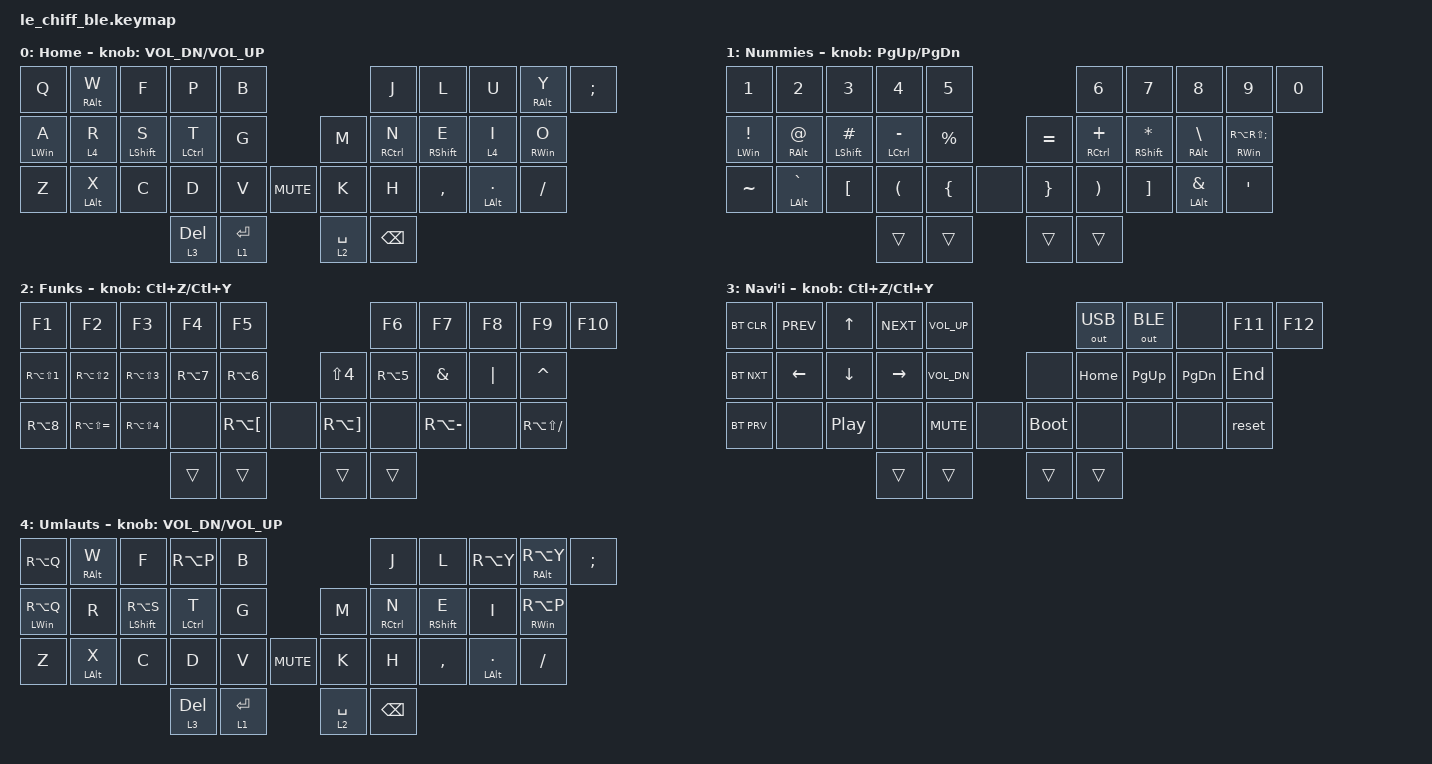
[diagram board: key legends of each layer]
/*
 * Copyright (c) 2021 @MangoIV
 *
 * SPDX-License-Identifier: MIT
 */

#include <behaviors.dtsi>
#include <dt-bindings/zmk/keys.h>
#include <dt-bindings/zmk/bt.h>
#include <dt-bindings/zmk/outputs.h>

// makes it possible to hold backspace

/ {

    behaviors {        
    	hm: homerow_mods {            
   		compatible = "zmk,behavior-hold-tap";            
    		label = "HOMEROW_MODS";            
    		#binding-cells = <2>;            
    		tapping-term-ms = <150>;            
    		quick_tap_ms = <0>;            
    		flavor = "tap-preferred";            
    		bindings = <&kp>, <&kp>;        
    	};    
    };





	keymap {
		compatible = "zmk,keymap";
		
		default {
            label = "Home";
//  _____________________________       _____________________________
// /  Q  |  W  |  F  |  P  |  B  \     /  Y  |  U  |  I  |  O  |  P  \
// |  A  |  S  |  D  |  F  |  G  | ___ |  H  |  J  |  K  |  L  |  ;  |
// |Sft/Z|  X  |  C  |  V  |  B  ||MUT||  N  |  M  |  ,  |  .  |Sft//|
//         \LAlt/Bspc|  Ctl/SPC  /     \  Num/Del  | Sym/Ent /
//          ---------------------       --------------------
			bindings = <
            &kp Q       &hm RALT W   	 &kp F   		&kp P   	  &kp B                       &kp J   	  &kp L   		&kp U        &hm RALT Y   	 &kp SEMI
            &hm LWIN A  &lt 4 R   &hm LSHFT S   	&hm LCTRL T   &kp G                   	  &kp M   	  &hm RCTRL N   &hm RSHFT E &lt 4 I   &hm RWIN O
            &kp Z       &hm LALT X   &kp C   		&kp D   	  &kp V     &kp C_MUTE        &kp K   	  &kp H   		&kp COMMA   &hm LALT DOT &kp FSLH
                        							&lt 3 DEL     &lt 1 RET                   &lt 2 SPACE &kp BSPC
			>;
			sensor-bindings = <&inc_dec_kp C_VOL_DN C_VOL_UP>;
		};
		numbers {
            label = "Nummies";
//  _____________________________       _____________________________
// /  1  |  2  |  3  |  4  |  5  \     /  6  |  7  |  8  |  9  |  0  \
// | TAB |BTPRV|BTNXT| VOL-| VOL+| ___ |  <  |  v  |  ^  |  >  |  '  |
// | Sft |BTSL0|BTCLR| MUT |     ||CPS|| HOME| END | PGUP| PGDN| Sft |
//         \  LAlt   |    Ctl    /     \   Trns    |         /
//          ---------------------       --------------------
			bindings = <
            &kp N1      	&kp N2 			&kp N3 			&kp N4 			&kp N5 					&kp N6 		&kp N7 			&kp N8 			&kp N9 			&kp N0
            &hm LWIN EXCL   &hm RALT AT		&hm LSHFT HASH 	&hm LCTRL MINUS	&kp PERCENT 			&kp EQUAL 	&hm RCTRL PLUS 	&hm RSHFT STAR	&hm RALT BSLH 	&hm RWIN RA(RS(SEMI))
            &kp TILDE 		&hm LALT GRAVE 	&kp LBKT 		&kp LPAR		&kp LBRC		&none 	&kp RBRC 	&kp RPAR		&kp RBKT		&hm LALT AMPS	&kp APOS
            												&trans 			&trans 					&trans 		&trans
			>;
			sensor-bindings = <&inc_dec_kp PG_UP PG_DN>;
		};
		symbols {
            label = "Funks";
//  _____________________________       _____________________________
// / ESC | F1  | F2  | F3  | F4  \     / USB | BLE |     |  =  |  -  \
// |     | F5  | F6  | F7  | F8  | ___ |  [  |  ]  |     |  `  |  \  |
// | Sft | F9  | F10 | F11 | F12 ||   ||     |     |     |     | Sft |
//         \  LAlt   |    Ctl    /     \         | Trns    /
//          ---------------------       --------------------
			bindings = <
            &kp F1 			&kp F2			  &kp F3  		  &kp F4 		&kp F5 				&kp F6 		 &kp F7 		&kp F8  		&kp F9 			&kp F10
            &kp RA(LS(N1)) 	&kp RA(LS(N2)) 	  &kp RA(LS(N3))  &kp RA(N7) 	&kp RA(N6) 			&kp LS(N4) 	 &kp RA(N5) 	&kp AMPS		&kp PIPE 		&kp CARET
            &kp RA(N8) 		&kp RA(LS(EQUAL)) &kp RA(LS(N4))  &none 	    &kp RA(LBKT) &none 	&kp RA(RBKT) &none 			&kp RA(MINUS) 	&none		 	&kp RA(LS(SLASH))
            												  &trans	 	&trans	 			&trans 		 &trans
			>;
			sensor-bindings = <&inc_dec_kp LC(Z) LC(Y)>;
		};
		nav {
            label = "Navi'i";
//  _____________________________       _____________________________
// / 0   |  1  |  2  |  3  | 4   \     /  5  | 6   |  7  |  8  |  9  \
// |  10 | 11  | 12  | 13  | 14  |  25 |  15  | 16  |  17 | 18  | 19  |
// | 20  | 21  | 22  | 23  | 24  ||   ||  26 |  27 |  28 |  29 | 30  |
//          \   31   |    32     /     \     33      | 34    /
//          ---------------------       --------------------
			bindings = <
            &bt BT_CLR 	&kp C_PREV 	&kp UP  	&kp C_NEXT 		&kp C_VOL_UP		&out OUT_USB    &out OUT_BLE  	&none  		&kp F11 	&kp F12
            &bt BT_NXT 	&kp LEFT 	&kp DOWN  	&kp RIGHT 		&kp C_VOL_DN		&none 			&kp HOME 		&kp PG_UP	&kp PG_DN	&kp END
            &bt BT_PRV 	&none 		&kp C_PP 	&none	 		&kp C_MUTE	 &none 	&bootloader		&none			&none 		&none		&reset
            									&trans 			&trans 				&trans 			&trans
			>;
			sensor-bindings = <&inc_dec_kp LC(Z) LC(Y)>;
		};
		umlaut {
            label = "Umlauts";
//  _____________________________       _____________________________
// /  Q  |  W  |  F  |  P  |  B  \     /  Y  |  U  |  I  |  O  |  P  \
// |  A  |  S  |  D  |  F  |  G  | ___ |  H  |  J  |  K  |  L  |  ;  |
// |Sft/Z|  X  |  C  |  V  |  B  ||MUT||  N  |  M  |  ,  |  .  |Sft//|
//         \LAlt/Bspc|  Ctl/SPC  /     \  Num/Del  | Sym/Ent /
//          ---------------------       --------------------
			bindings = <
            &kp RA(Q)       &hm RALT W   	 &kp F   		&kp RA(P)   	  &kp B                       &kp J   	  &kp L   		&kp RA(Y)        &hm RALT RA(Y)   	 &kp SEMI
            &hm LWIN RA(Q)  &kp R   &hm LSHFT RA(S)   	&hm LCTRL T   &kp G                   	  &kp M   	  &hm RCTRL N   &hm RSHFT E &kp I   &hm RWIN RA(P)
            &kp Z       &hm LALT X   &kp C   		&kp D   	  &kp V     &kp C_MUTE        &kp K   	  &kp H   		&kp COMMA   &hm LALT DOT &kp FSLH
                        							&lt 3 DEL     &lt 1 RET                   &lt 2 SPACE &kp BSPC
			>;
			sensor-bindings = <&inc_dec_kp C_VOL_DN C_VOL_UP>;
		};
		
	};
};

/ {    
	combos {
	    compatible = "zmk,combos";        
		combo_esc {            
			timeout-ms = <50>;            
			key-positions = <0 1>;            
			bindings = <&kp ESC>;        
		};
		combo_tab {
			timeout-ms = <50>;            
			key-positions = <0 10>;            
			bindings = <&kp TAB>; 
		};
		combo_tab2 {
			timeout-ms = <50>;            
			key-positions = <22 23>;           
			bindings = <&kp TAB>; 
		};
		combo_exclamation {
			timeout-ms = <50>;            
			key-positions = <2 3>;            
			bindings = <&kp EXCLAMATION>; 
		};
		combo_quotes {
			timeout-ms = <50>;            
			key-positions = <27 17>;         
			bindings = <&kp DOUBLE_QUOTES>; 
		};  
		combo_apostrophe {
			timeout-ms = <50>;            
			key-positions = <27 18>;            
			bindings = <&kp APOSTROPHE>; 
		}; 
		combo_pause {
			timeout-ms = <50>;            
			key-positions = <22 23>;            
			bindings = <&kp C_PP>; 
		};               
	};
};
